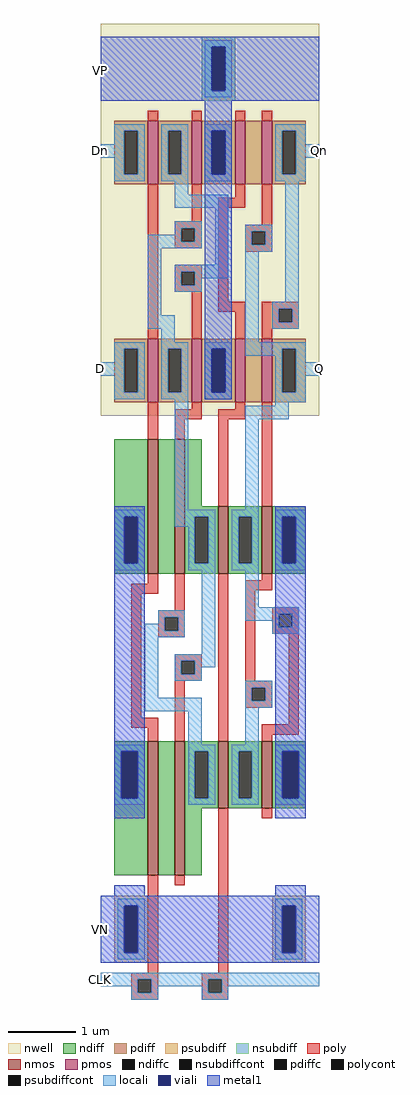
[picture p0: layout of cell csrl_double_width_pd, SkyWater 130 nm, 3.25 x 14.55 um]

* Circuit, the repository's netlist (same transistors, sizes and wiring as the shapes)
* SPICE3 file created from csrl_double_width_pd.ext - technology: sky130A

.subckt csrl_double_width_pd VP Dn D VN CLK Q Qn
X0 a_80_1750# a_80_1050# a_80_1240# VN sky130_fd_pr__nfet_01v8 ad=7.5e+11p pd=5e+06u as=5e+11p ps=4.5e+06u w=2e+06u l=150000u
X1 a_420_540# Qn Q VN sky130_fd_pr__nfet_01v8 ad=1e+12p pd=6e+06u as=5e+11p ps=3e+06u w=1e+06u l=150000u
X2 a_340_1750# CLK VP VP sky130_fd_pr__pfet_01v8 ad=2.375e+11p pd=2.4e+06u as=9.5e+11p ps=5.8e+06u w=950000u l=150000u
X3 a_420_540# Q Qn VN sky130_fd_pr__nfet_01v8 ad=0p pd=0u as=5e+11p ps=3e+06u w=1e+06u l=150000u
X4 a_80_1050# a_80_1750# a_80_340# VN sky130_fd_pr__nfet_01v8 ad=7.5e+11p pd=5e+06u as=5e+11p ps=4.5e+06u w=2e+06u l=150000u
X5 a_80_340# CLK a_n50_340# VN sky130_fd_pr__nfet_01v8 ad=0p pd=0u as=2e+12p ps=1e+07u w=2e+06u l=150000u
X6 a_80_1050# CLK Dn VP sky130_fd_pr__pfet_01v8 ad=4.75e+11p pd=2.9e+06u as=4.75e+11p ps=2.9e+06u w=950000u l=150000u
X7 a_80_1750# CLK D VP sky130_fd_pr__pfet_01v8 ad=4.75e+11p pd=2.9e+06u as=4.75e+11p ps=2.9e+06u w=950000u l=150000u
X8 Q CLK a_80_1750# VN sky130_fd_pr__nfet_01v8 ad=0p pd=0u as=0p ps=0u w=1e+06u l=150000u
X9 Qn Q a_340_2400# VP sky130_fd_pr__pfet_01v8 ad=4.75e+11p pd=2.9e+06u as=2.375e+11p ps=2.4e+06u w=950000u l=150000u
X10 VP a_80_1750# a_80_1050# VP sky130_fd_pr__pfet_01v8 ad=0p pd=0u as=0p ps=0u w=950000u l=150000u
X11 Q Qn a_340_1750# VP sky130_fd_pr__pfet_01v8 ad=4.75e+11p pd=2.9e+06u as=0p ps=0u w=950000u l=150000u
X12 a_80_1240# CLK a_n50_340# VN sky130_fd_pr__nfet_01v8 ad=0p pd=0u as=0p ps=0u w=2e+06u l=150000u
X13 VP a_80_1050# a_80_1750# VP sky130_fd_pr__pfet_01v8 ad=0p pd=0u as=0p ps=0u w=950000u l=150000u
X14 Qn CLK a_80_1050# VN sky130_fd_pr__nfet_01v8 ad=0p pd=0u as=0p ps=0u w=1e+06u l=150000u
X15 a_340_2400# CLK VP VP sky130_fd_pr__pfet_01v8 ad=0p pd=0u as=0p ps=0u w=950000u l=150000u
.ends

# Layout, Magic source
magic
tech sky130A
<< nwell >>
rect -45 855 280 1440
<< nmos >>
rect 25 620 40 820
rect 65 620 80 820
rect 130 620 145 720
rect 195 620 210 720
rect 25 170 40 370
rect 65 170 80 370
rect 130 270 145 370
rect 195 270 210 370
<< pmos >>
rect 25 1200 40 1295
rect 90 1200 105 1295
rect 155 1200 170 1295
rect 195 1200 210 1295
rect 25 875 40 970
rect 90 875 105 970
rect 155 875 170 970
rect 195 875 210 970
<< ndiff >>
rect -25 705 25 820
rect -25 635 -10 705
rect 10 635 25 705
rect -25 620 25 635
rect 40 620 65 820
rect 80 720 105 820
rect 80 705 130 720
rect 80 635 95 705
rect 115 635 130 705
rect 80 620 130 635
rect 145 705 195 720
rect 145 635 160 705
rect 180 635 195 705
rect 145 620 195 635
rect 210 705 260 720
rect 210 635 225 705
rect 245 635 260 705
rect 210 620 260 635
rect -25 355 25 370
rect -25 285 -15 355
rect 10 285 25 355
rect -25 170 25 285
rect 40 170 65 370
rect 80 355 130 370
rect 80 285 95 355
rect 115 285 130 355
rect 80 270 130 285
rect 145 355 195 370
rect 145 285 160 355
rect 180 285 195 355
rect 145 270 195 285
rect 210 355 260 370
rect 210 285 225 355
rect 250 285 260 355
rect 210 270 260 285
rect 80 170 105 270
<< pdiff >>
rect -25 1280 25 1295
rect -25 1215 -10 1280
rect 10 1215 25 1280
rect -25 1200 25 1215
rect 40 1280 90 1295
rect 40 1215 55 1280
rect 75 1215 90 1280
rect 40 1200 90 1215
rect 105 1280 155 1295
rect 105 1215 120 1280
rect 140 1215 155 1280
rect 105 1200 155 1215
rect 170 1200 195 1295
rect 210 1280 260 1295
rect 210 1215 225 1280
rect 245 1215 260 1280
rect 210 1200 260 1215
rect -25 955 25 970
rect -25 890 -10 955
rect 10 890 25 955
rect -25 875 25 890
rect 40 955 90 970
rect 40 890 55 955
rect 75 890 90 955
rect 40 875 90 890
rect 105 955 155 970
rect 105 890 120 955
rect 140 890 155 955
rect 105 875 155 890
rect 170 875 195 970
rect 210 955 260 970
rect 210 890 225 955
rect 245 890 260 955
rect 210 875 260 890
<< ndiffc >>
rect -10 635 10 705
rect 95 635 115 705
rect 160 635 180 705
rect 225 635 245 705
rect -15 285 10 355
rect 95 285 115 355
rect 160 285 180 355
rect 225 285 250 355
<< pdiffc >>
rect -10 1215 10 1280
rect 55 1215 75 1280
rect 120 1215 140 1280
rect 225 1215 245 1280
rect -10 890 10 955
rect 55 890 75 955
rect 120 890 140 955
rect 225 890 245 955
<< psubdiff >>
rect -25 125 25 140
rect -25 55 -10 125
rect 10 55 25 125
rect -25 40 25 55
rect 210 125 260 140
rect 210 55 225 125
rect 245 55 260 125
rect 210 40 260 55
<< nsubdiff >>
rect 105 1405 155 1420
rect 105 1340 120 1405
rect 140 1340 155 1405
rect 105 1325 155 1340
<< psubdiffcont >>
rect -10 55 10 125
rect 225 55 245 125
<< nsubdiffcont >>
rect 120 1340 140 1405
<< poly >>
rect 25 1295 40 1310
rect 90 1295 105 1310
rect 155 1295 170 1310
rect 195 1295 210 1310
rect 25 970 40 1200
rect 90 1145 105 1200
rect 155 1180 170 1200
rect 65 1135 105 1145
rect 65 1115 75 1135
rect 95 1115 105 1135
rect 65 1105 105 1115
rect 130 1165 170 1180
rect 65 1070 105 1080
rect 65 1050 75 1070
rect 95 1050 105 1070
rect 65 1040 105 1050
rect 90 970 105 1040
rect 130 1025 145 1165
rect 195 1140 210 1200
rect 170 1130 210 1140
rect 170 1110 180 1130
rect 200 1110 210 1130
rect 170 1100 210 1110
rect 130 1010 170 1025
rect 155 970 170 1010
rect 195 1015 250 1025
rect 195 995 220 1015
rect 240 995 250 1015
rect 195 985 250 995
rect 195 970 210 985
rect 25 820 40 875
rect 90 865 105 875
rect 155 865 170 875
rect 65 850 105 865
rect 130 850 170 865
rect 65 820 80 850
rect 130 720 145 850
rect 195 720 210 875
rect 25 605 40 620
rect 0 590 40 605
rect 0 405 15 590
rect 65 565 80 620
rect 40 555 80 565
rect 40 535 50 555
rect 70 535 80 555
rect 40 525 80 535
rect 65 490 105 500
rect 65 470 75 490
rect 95 470 105 490
rect 65 460 105 470
rect 0 390 40 405
rect 25 370 40 390
rect 65 370 80 460
rect 130 370 145 620
rect 195 610 210 620
rect 170 595 210 610
rect 170 460 185 595
rect 210 560 250 570
rect 210 540 220 560
rect 240 540 250 560
rect 210 530 250 540
rect 170 450 210 460
rect 170 430 180 450
rect 200 430 210 450
rect 170 420 210 430
rect 235 395 250 530
rect 195 380 250 395
rect 195 370 210 380
rect 25 25 40 170
rect 65 155 80 170
rect 130 25 145 270
rect 195 255 210 270
rect 0 15 40 25
rect 0 -5 10 15
rect 30 -5 40 15
rect 0 -15 40 -5
rect 105 15 145 25
rect 105 -5 115 15
rect 135 -5 145 15
rect 105 -15 145 -5
<< polycont >>
rect 75 1115 95 1135
rect 75 1050 95 1070
rect 180 1110 200 1130
rect 220 995 240 1015
rect 50 535 70 555
rect 75 470 95 490
rect 220 540 240 560
rect 180 430 200 450
rect 10 -5 30 15
rect 115 -5 135 15
<< locali >>
rect 110 1405 150 1415
rect 110 1340 120 1405
rect 140 1340 150 1405
rect 110 1330 150 1340
rect -25 1280 20 1290
rect -25 1260 -10 1280
rect -45 1240 -10 1260
rect -25 1215 -10 1240
rect 10 1215 20 1280
rect -25 1205 20 1215
rect 45 1280 85 1290
rect 45 1215 55 1280
rect 75 1215 85 1280
rect 45 1205 85 1215
rect 110 1280 150 1290
rect 110 1215 120 1280
rect 140 1215 150 1280
rect 110 1205 150 1215
rect 215 1280 260 1290
rect 215 1215 225 1280
rect 245 1260 260 1280
rect 245 1240 280 1260
rect 245 1215 260 1240
rect 215 1205 260 1215
rect 65 1185 85 1205
rect 65 1165 145 1185
rect 65 1135 105 1145
rect 65 1125 75 1135
rect 25 1115 75 1125
rect 95 1115 105 1135
rect 25 1105 105 1115
rect 25 1005 45 1105
rect 125 1080 145 1165
rect 65 1070 145 1080
rect 65 1050 75 1070
rect 95 1060 145 1070
rect 170 1130 210 1140
rect 170 1110 180 1130
rect 200 1110 210 1130
rect 170 1100 210 1110
rect 95 1050 105 1060
rect 65 1040 105 1050
rect 25 985 65 1005
rect 45 965 65 985
rect 170 965 190 1100
rect 230 1025 250 1205
rect 210 1015 250 1025
rect 210 995 220 1015
rect 240 995 250 1015
rect 210 985 250 995
rect -25 955 20 965
rect -25 935 -10 955
rect -45 915 -10 935
rect -25 890 -10 915
rect 10 890 20 955
rect -25 880 20 890
rect 45 955 85 965
rect 45 890 55 955
rect 75 890 85 955
rect 45 880 85 890
rect 110 955 150 965
rect 110 890 120 955
rect 140 890 150 955
rect 170 955 260 965
rect 170 945 225 955
rect 110 880 150 890
rect 215 890 225 945
rect 245 935 260 955
rect 245 915 280 935
rect 245 890 260 915
rect 65 715 85 880
rect 215 875 260 890
rect 215 870 235 875
rect 170 850 235 870
rect 170 715 190 850
rect -25 705 20 715
rect -25 635 -10 705
rect 10 635 20 705
rect 65 705 125 715
rect 65 690 95 705
rect -25 625 20 635
rect 85 635 95 690
rect 115 635 125 705
rect 85 625 125 635
rect 150 705 190 715
rect 150 635 160 705
rect 180 635 190 705
rect 150 625 190 635
rect 215 705 260 715
rect 215 635 225 705
rect 245 635 260 705
rect 215 625 260 635
rect 40 555 80 565
rect 40 545 50 555
rect 20 535 50 545
rect 70 535 80 555
rect 20 525 80 535
rect 20 435 40 525
rect 105 500 125 625
rect 170 570 190 625
rect 170 560 250 570
rect 170 550 220 560
rect 210 540 220 550
rect 240 540 250 560
rect 210 530 250 540
rect 65 490 125 500
rect 65 470 75 490
rect 95 480 125 490
rect 95 470 105 480
rect 65 460 105 470
rect 170 450 210 460
rect 20 415 105 435
rect 85 365 105 415
rect 170 430 180 450
rect 200 430 210 450
rect 170 420 210 430
rect 170 365 190 420
rect -25 355 20 365
rect -25 285 -15 355
rect 10 285 20 355
rect -25 275 20 285
rect 85 355 125 365
rect 85 285 95 355
rect 115 285 125 355
rect 85 275 125 285
rect 150 355 190 365
rect 150 285 160 355
rect 180 285 190 355
rect 150 275 190 285
rect 215 355 260 365
rect 215 285 225 355
rect 250 285 260 355
rect 215 275 260 285
rect -20 125 20 135
rect -20 55 -10 125
rect 10 55 20 125
rect -20 45 20 55
rect 215 125 255 135
rect 215 55 225 125
rect 245 55 255 125
rect 215 45 255 55
rect -45 15 280 25
rect -45 5 10 15
rect 0 -5 10 5
rect 30 5 115 15
rect 30 -5 40 5
rect 0 -15 40 -5
rect 105 -5 115 5
rect 135 5 280 15
rect 135 -5 145 5
rect 105 -15 145 -5
<< viali >>
rect 120 1340 140 1405
rect 120 1215 140 1280
rect 120 890 140 955
rect -10 635 10 705
rect 225 635 245 705
rect -15 285 10 355
rect 225 285 250 355
rect -10 55 10 125
rect 225 55 245 125
<< metal1 >>
rect -45 1405 280 1420
rect -45 1340 120 1405
rect 140 1340 280 1405
rect -45 1325 280 1340
rect 110 1280 150 1325
rect 110 1215 120 1280
rect 140 1215 150 1280
rect 110 955 150 1215
rect 110 890 120 955
rect 140 890 150 955
rect 110 880 150 890
rect -25 705 20 720
rect -25 635 -10 705
rect 10 635 20 705
rect -25 355 20 635
rect -25 285 -15 355
rect 10 285 20 355
rect -25 255 20 285
rect 215 705 260 720
rect 215 635 225 705
rect 245 635 260 705
rect 215 355 260 635
rect 215 285 225 355
rect 250 285 260 355
rect 215 255 260 285
rect -25 140 20 155
rect 215 140 260 155
rect -45 125 280 140
rect -45 55 -10 125
rect 10 55 225 125
rect 245 55 280 125
rect -45 40 280 55
<< labels >>
rlabel metal1 -45 90 -45 90 7 VN
port 4 w
rlabel locali -45 15 -45 15 7 CLK
port 5 w
rlabel locali 280 1250 280 1250 3 Qn
port 7 e
rlabel locali 280 925 280 925 3 Q
port 6 e
rlabel locali -45 925 -45 925 7 D
port 3 w
rlabel locali -45 1250 -45 1250 7 Dn
port 2 w
rlabel metal1 -45 1370 -45 1370 7 VP
port 1 w
<< end >>
